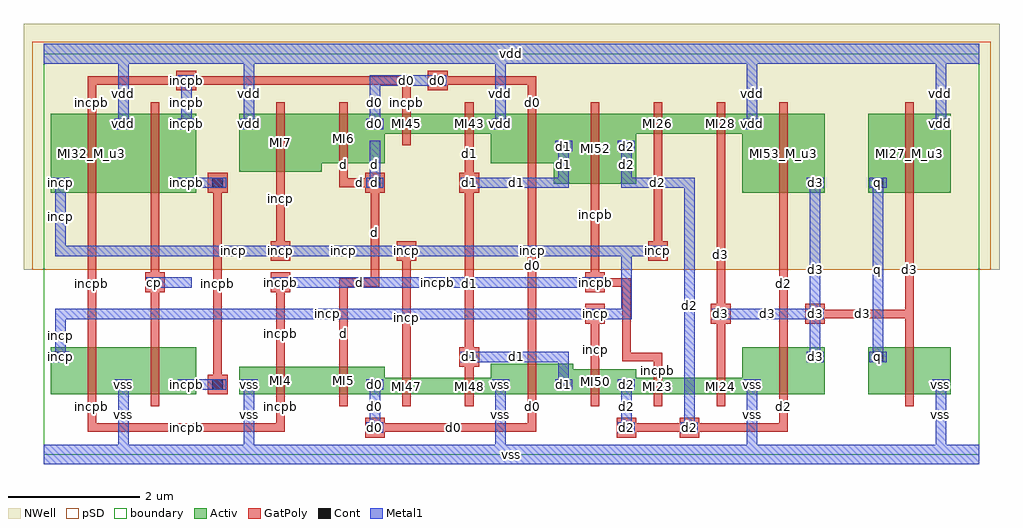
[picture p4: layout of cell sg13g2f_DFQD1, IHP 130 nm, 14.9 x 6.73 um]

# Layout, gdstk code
import gdstk
lib = gdstk.Library(unit=1e-6, precision=1e-09)
def R(c, l, rs):  # rectangles x0, y0, x1, y1
    for r in rs: c.add(gdstk.rectangle(r[:2], r[2:], *l))
def A(c, l, x, y, w, h, nx, ny, dx, dy):  # array of equal rectangles
    R(c, l, [(x+i*dx, y+j*dy, x+i*dx+w, y+j*dy+h) for i in range(nx) for j in range(ny)])
Activ = (1, 0)
GatPoly = (5, 0)
Cont = (6, 0)
Metal1 = (8, 0)
pSD = (14, 0)
NWell = (31, 0)
TEXT = (63, 0)
boundary = (189, 4)

sg13g2f_dfqd1 = lib.new_cell('sg13g2f_DFQD1')
A(sg13g2f_dfqd1, Activ, 1.065, 0.92, 0.3, 0.3, 3, 2, 0.96, 3.98)
A(sg13g2f_dfqd1, Activ, 6.825, 0.92, 0.3, 0.3, 3, 1, 0.96, 0)
R(sg13g2f_dfqd1, Activ, [(0.105,0.92,1.365,1.64), (1.065,0.92,2.325,1.64), (2.985,0.92,4.245,1.34), (3.945,0.92,5.205,1.34), (4.905,0.92,6.165,1.17), (4.905,0.92,5.205,1.22), (5.865,0.92,7.125,1.17), (6.825,0.92,8.085,1.39), (7.785,0.92,9.045,1.305), (8.745,0.92,10.005,1.17), (9.705,0.92,10.965,1.17), (10.665,0.92,11.925,1.64), (10.665,0.92,10.965,1.22), (12.585,0.92,13.845,1.64), (13.545,0.92,13.845,1.22), (0.105,1.34,0.405,1.64), (11.625,1.34,11.925,1.64), (12.585,1.34,12.885,1.64), (0.105,4,1.365,5.2), (0.105,4,0.405,4.3), (1.065,4,2.325,5.2), (2.025,4,2.325,4.3), (10.665,4,11.925,5.2), (11.625,4,11.925,4.3), (12.585,4,13.845,5.2), (12.585,4,12.885,4.3), (7.785,4.135,9.045,5.2), (2.985,4.315,4.245,5.2), (3.945,4.45,5.205,5.2), (6.825,4.45,8.085,5.2), (7.785,4.56,8.085,4.86), (8.745,4.56,9.045,4.86), (4.905,4.9,6.165,5.2), (4.905,4.9,5.205,5.2), (5.865,4.9,7.125,5.2), (6.825,4.9,7.125,5.2), (8.745,4.9,10.005,5.2), (9.705,4.9,10.965,5.2), (10.665,4.9,10.965,5.2), (13.545,4.9,13.845,5.2)])
A(sg13g2f_dfqd1, GatPoly, 3.55, 0.345, 0.13, 0.79, 3, 1, 3.84, 0)
R(sg13g2f_dfqd1, GatPoly, [(4.905,0.26,5.205,0.56), (8.745,0.26,9.045,0.56), (9.705,0.26,10.005,0.56), (0.67,0.345,0.8,1.135), (0.67,0.345,3.68,0.475), (4.99,0.345,7.52,0.475), (8.83,0.345,11.36,0.475), (0.67,0.74,0.8,1.82), (1.63,0.74,1.76,1.82), (3.55,0.74,3.68,1.52), (4.51,0.74,4.64,1.52), (5.47,0.74,5.6,1.35), (6.43,0.74,6.56,1.35), (7.39,0.74,7.52,1.57), (8.35,0.74,8.48,1.485), (9.31,0.74,9.44,1.35), (10.27,0.74,10.4,1.35), (11.23,0.74,11.36,1.82), (13.15,0.74,13.28,1.82), (2.505,0.92,2.805,1.22), (0.67,1.005,0.8,4.215), (2.59,1.005,2.72,4.215), (3.55,1.005,3.68,2.695), (4.51,1.005,4.64,2.695), (5.47,1.005,5.6,3.175), (6.43,1.005,6.56,4.215), (7.39,1.005,7.52,4.775), (8.35,1.005,8.48,2.215), (9.31,1.005,9.44,1.555), (10.27,1.005,10.4,5.115), (11.23,1.005,11.36,4.215), (6.345,1.34,6.645,1.64), (1.63,1.425,1.76,4.215), (6.43,1.425,6.56,4.215), (8.83,1.425,9.44,1.555), (8.83,1.425,8.96,2.695), (13.15,1.425,13.28,4.215), (8.265,2,8.565,2.3), (10.185,2,10.485,2.3), (11.625,2,11.925,2.3), (11.625,2,11.925,2.3), (11.71,2.085,13.28,2.215), (11.71,2.085,13.28,2.215), (1.545,2.48,1.845,2.78), (3.465,2.48,3.765,2.78), (8.265,2.48,8.565,2.78), (4.51,2.565,5.12,2.695), (4.99,2.565,5.12,4.215), (8.35,2.565,8.48,4.775), (8.35,2.565,8.96,2.695), (3.465,2.96,3.765,3.26), (5.385,2.96,5.685,3.26), (9.225,2.96,9.525,3.26), (3.55,3.045,3.68,4.775), (9.31,3.045,9.44,5.115), (0.67,3.82,0.8,5.38), (1.63,3.82,1.76,5.38), (11.23,3.82,11.36,5.38), (13.15,3.82,13.28,5.38), (8.35,3.955,8.48,5.38), (2.505,4,2.805,4.3), (4.905,4,5.205,4.3), (6.345,4,6.645,4.3), (4.51,4.085,5.12,4.215), (4.51,4.085,4.64,4.775), (6.43,4.085,6.56,5.115), (3.55,4.135,3.68,5.38), (4.51,4.27,4.64,5.38), (7.39,4.27,7.52,5.38), (5.47,4.72,5.6,5.38), (6.43,4.72,6.56,5.38), (9.31,4.72,9.44,5.38), (10.27,4.72,10.4,5.38), (0.67,4.985,0.8,5.775), (5.47,4.985,5.6,5.775), (7.39,4.985,7.52,5.775), (2.025,5.56,2.325,5.86), (5.865,5.56,6.165,5.86), (0.67,5.645,5.6,5.775), (5.95,5.645,7.52,5.775)])
A(sg13g2f_dfqd1, Cont, 2.095, 0.99, 0.16, 0.16, 3, 1, 0.48, 0)
A(sg13g2f_dfqd1, Cont, 6.895, 0.99, 0.16, 0.16, 3, 1, 0.96, 0)
A(sg13g2f_dfqd1, Cont, 1.135, 4.97, 0.16, 0.16, 3, 1, 0.96, 0)
R(sg13g2f_dfqd1, Cont, [(4.975,0.33,5.135,0.49), (8.815,0.33,8.975,0.49), (9.775,0.33,9.935,0.49), (1.135,0.99,1.295,1.15), (4.975,0.99,5.135,1.15), (10.735,0.99,10.895,1.15), (13.615,0.99,13.775,1.15), (0.175,1.41,0.335,1.57), (6.415,1.41,6.575,1.57), (11.695,1.41,11.855,1.57), (12.655,1.41,12.815,1.57), (8.335,2.07,8.495,2.23), (10.255,2.07,10.415,2.23), (11.695,2.07,11.855,2.23), (11.695,2.07,11.855,2.23), (1.615,2.55,1.775,2.71), (3.535,2.55,3.695,2.71), (8.335,2.55,8.495,2.71), (3.535,3.03,3.695,3.19), (5.455,3.03,5.615,3.19), (9.295,3.03,9.455,3.19), (0.175,4.07,0.335,4.23), (2.095,4.07,2.255,4.23), (2.575,4.07,2.735,4.23), (4.975,4.07,5.135,4.23), (6.415,4.07,6.575,4.23), (11.695,4.07,11.855,4.23), (12.655,4.07,12.815,4.23), (7.855,4.63,8.015,4.79), (8.815,4.63,8.975,4.79), (4.975,4.97,5.135,5.13), (6.895,4.97,7.055,5.13), (10.735,4.97,10.895,5.13), (13.615,4.97,13.775,5.13), (2.095,5.63,2.255,5.79), (5.935,5.63,6.095,5.79)])
A(sg13g2f_dfqd1, Metal1, 3.055, 0.07, 0.16, 1.08, 3, 2, 3.84, 4.9)
A(sg13g2f_dfqd1, Metal1, 2.045, 0.99, 0.26, 0.16, 3, 1, 0.48, 0)
A(sg13g2f_dfqd1, Metal1, 6.845, 0.99, 0.26, 0.16, 3, 1, 0.96, 0)
A(sg13g2f_dfqd1, Metal1, 1.085, 4.97, 0.26, 0.16, 3, 1, 0.96, 0)
R(sg13g2f_dfqd1, Metal1, [(0,-0.15,14.28,0.15), (1.135,0.07,1.295,1.15), (13.615,0.07,13.775,1.15), (4.925,0.33,5.185,0.49), (4.975,0.33,5.135,1.15), (8.765,0.33,9.025,0.49), (8.815,0.33,8.975,1.15), (9.725,0.33,9.985,0.49), (9.775,0.33,9.935,4.23), (1.085,0.99,1.345,1.15), (2.095,0.99,2.735,1.15), (4.925,0.99,5.185,1.15), (7.855,0.99,8.015,1.57), (10.685,0.99,10.945,1.15), (13.565,0.99,13.825,1.15), (0.125,1.41,0.385,1.57), (0.175,1.41,0.335,2.23), (6.365,1.41,6.625,1.57), (6.415,1.41,8.015,1.57), (11.645,1.41,11.905,1.57), (11.695,1.41,11.855,4.23), (12.605,1.41,12.865,1.57), (12.655,1.41,12.815,4.23), (0.175,2.07,8.495,2.23), (8.285,2.07,8.545,2.23), (8.335,2.07,8.975,2.23), (8.815,2.07,8.975,3.19), (10.205,2.07,10.465,2.23), (10.255,2.07,11.855,2.23), (11.645,2.07,11.905,2.23), (11.645,2.07,11.905,2.23), (1.565,2.55,1.825,2.71), (1.615,2.55,2.255,2.71), (3.485,2.55,3.745,2.71), (3.535,2.55,8.495,2.71), (8.285,2.55,8.545,2.71), (0.175,3.03,0.335,4.23), (0.175,3.03,5.615,3.19), (3.485,3.03,3.745,3.19), (3.535,3.03,5.615,3.19), (5.405,3.03,5.665,3.19), (5.455,3.03,9.455,3.19), (9.245,3.03,9.505,3.19), (0.125,4.07,0.385,4.23), (2.045,4.07,2.305,4.23), (2.095,4.07,2.735,4.23), (2.525,4.07,2.785,4.23), (4.925,4.07,5.185,4.23), (4.975,4.07,5.135,4.79), (6.365,4.07,6.625,4.23), (6.415,4.07,8.015,4.23), (7.855,4.07,8.015,4.79), (8.815,4.07,9.935,4.23), (8.815,4.07,8.975,4.79), (11.645,4.07,11.905,4.23), (12.605,4.07,12.865,4.23), (7.805,4.63,8.065,4.79), (8.765,4.63,9.025,4.79), (1.135,4.97,1.295,6.05), (2.095,4.97,2.255,5.79), (4.925,4.97,5.185,5.13), (4.975,4.97,5.135,5.79), (6.845,4.97,7.105,5.13), (10.685,4.97,10.945,5.13), (13.565,4.97,13.825,5.13), (13.615,4.97,13.775,6.05), (2.045,5.63,2.305,5.79), (4.975,5.63,6.095,5.79), (5.885,5.63,6.145,5.79), (0,5.97,14.28,6.27)])
R(sg13g2f_dfqd1, pSD, [(-0.18,2.82,14.46,5.94), (-0.18,5.94,14.46,6.3)])
R(sg13g2f_dfqd1, NWell, [(-0.31,2.82,14.59,6.58)])
R(sg13g2f_dfqd1, boundary, [(0,0,14.28,6.12)])
sg13g2f_dfqd1.add(gdstk.FlexPath([(0.105,0.41),(13.845,0.41)], 0, ends="flush", simple_path=True, layer=63, datatype=0))  # TEXT
sg13g2f_dfqd1.add(gdstk.FlexPath([(0.105,1.07),(13.845,1.07)], 0, ends="flush", simple_path=True, layer=63, datatype=0))  # TEXT
sg13g2f_dfqd1.add(gdstk.FlexPath([(0.105,1.49),(13.845,1.49)], 0, ends="flush", simple_path=True, layer=63, datatype=0))  # TEXT
sg13g2f_dfqd1.add(gdstk.FlexPath([(0.105,2.15),(13.845,2.15)], 0, ends="flush", simple_path=True, layer=63, datatype=0))  # TEXT
sg13g2f_dfqd1.add(gdstk.FlexPath([(0.105,2.63),(13.845,2.63)], 0, ends="flush", simple_path=True, layer=63, datatype=0))  # TEXT
sg13g2f_dfqd1.add(gdstk.FlexPath([(0.105,3.11),(13.845,3.11)], 0, ends="flush", simple_path=True, layer=63, datatype=0))  # TEXT
sg13g2f_dfqd1.add(gdstk.FlexPath([(0.105,4.15),(13.845,4.15)], 0, ends="flush", simple_path=True, layer=63, datatype=0))  # TEXT
sg13g2f_dfqd1.add(gdstk.FlexPath([(0.105,4.71),(13.845,4.71)], 0, ends="flush", simple_path=True, layer=63, datatype=0))  # TEXT
sg13g2f_dfqd1.add(gdstk.FlexPath([(0.105,5.05),(13.845,5.05)], 0, ends="flush", simple_path=True, layer=63, datatype=0))  # TEXT
sg13g2f_dfqd1.add(gdstk.FlexPath([(0.105,5.71),(13.845,5.71)], 0, ends="flush", simple_path=True, layer=63, datatype=0))  # TEXT
sg13g2f_dfqd1.add(gdstk.FlexPath([(0.255,0.07),(0.255,6.05)], 0, ends="flush", simple_path=True, layer=63, datatype=0))  # TEXT
sg13g2f_dfqd1.add(gdstk.FlexPath([(0.735,0.07),(0.735,6.05)], 0, ends="flush", simple_path=True, layer=63, datatype=0))  # TEXT
sg13g2f_dfqd1.add(gdstk.FlexPath([(1.215,0.07),(1.215,6.05)], 0, ends="flush", simple_path=True, layer=63, datatype=0))  # TEXT
sg13g2f_dfqd1.add(gdstk.FlexPath([(1.695,0.07),(1.695,6.05)], 0, ends="flush", simple_path=True, layer=63, datatype=0))  # TEXT
sg13g2f_dfqd1.add(gdstk.FlexPath([(2.175,0.07),(2.175,6.05)], 0, ends="flush", simple_path=True, layer=63, datatype=0))  # TEXT
sg13g2f_dfqd1.add(gdstk.FlexPath([(2.655,0.07),(2.655,6.05)], 0, ends="flush", simple_path=True, layer=63, datatype=0))  # TEXT
sg13g2f_dfqd1.add(gdstk.FlexPath([(3.135,0.07),(3.135,6.05)], 0, ends="flush", simple_path=True, layer=63, datatype=0))  # TEXT
sg13g2f_dfqd1.add(gdstk.FlexPath([(3.615,0.07),(3.615,6.05)], 0, ends="flush", simple_path=True, layer=63, datatype=0))  # TEXT
sg13g2f_dfqd1.add(gdstk.FlexPath([(4.095,0.07),(4.095,6.05)], 0, ends="flush", simple_path=True, layer=63, datatype=0))  # TEXT
sg13g2f_dfqd1.add(gdstk.FlexPath([(4.575,0.07),(4.575,6.05)], 0, ends="flush", simple_path=True, layer=63, datatype=0))  # TEXT
sg13g2f_dfqd1.add(gdstk.FlexPath([(5.055,0.07),(5.055,6.05)], 0, ends="flush", simple_path=True, layer=63, datatype=0))  # TEXT
sg13g2f_dfqd1.add(gdstk.FlexPath([(5.535,0.07),(5.535,6.05)], 0, ends="flush", simple_path=True, layer=63, datatype=0))  # TEXT
sg13g2f_dfqd1.add(gdstk.FlexPath([(6.015,0.07),(6.015,6.05)], 0, ends="flush", simple_path=True, layer=63, datatype=0))  # TEXT
sg13g2f_dfqd1.add(gdstk.FlexPath([(6.495,0.07),(6.495,6.05)], 0, ends="flush", simple_path=True, layer=63, datatype=0))  # TEXT
sg13g2f_dfqd1.add(gdstk.FlexPath([(6.975,0.07),(6.975,6.05)], 0, ends="flush", simple_path=True, layer=63, datatype=0))  # TEXT
sg13g2f_dfqd1.add(gdstk.FlexPath([(7.455,0.07),(7.455,6.05)], 0, ends="flush", simple_path=True, layer=63, datatype=0))  # TEXT
sg13g2f_dfqd1.add(gdstk.FlexPath([(7.935,0.07),(7.935,6.05)], 0, ends="flush", simple_path=True, layer=63, datatype=0))  # TEXT
sg13g2f_dfqd1.add(gdstk.FlexPath([(8.415,0.07),(8.415,6.05)], 0, ends="flush", simple_path=True, layer=63, datatype=0))  # TEXT
sg13g2f_dfqd1.add(gdstk.FlexPath([(8.895,0.07),(8.895,6.05)], 0, ends="flush", simple_path=True, layer=63, datatype=0))  # TEXT
sg13g2f_dfqd1.add(gdstk.FlexPath([(9.375,0.07),(9.375,6.05)], 0, ends="flush", simple_path=True, layer=63, datatype=0))  # TEXT
sg13g2f_dfqd1.add(gdstk.FlexPath([(9.855,0.07),(9.855,6.05)], 0, ends="flush", simple_path=True, layer=63, datatype=0))  # TEXT
sg13g2f_dfqd1.add(gdstk.FlexPath([(10.335,0.07),(10.335,6.05)], 0, ends="flush", simple_path=True, layer=63, datatype=0))  # TEXT
sg13g2f_dfqd1.add(gdstk.FlexPath([(10.815,0.07),(10.815,6.05)], 0, ends="flush", simple_path=True, layer=63, datatype=0))  # TEXT
sg13g2f_dfqd1.add(gdstk.FlexPath([(11.295,0.07),(11.295,6.05)], 0, ends="flush", simple_path=True, layer=63, datatype=0))  # TEXT
sg13g2f_dfqd1.add(gdstk.FlexPath([(11.775,0.07),(11.775,6.05)], 0, ends="flush", simple_path=True, layer=63, datatype=0))  # TEXT
sg13g2f_dfqd1.add(gdstk.FlexPath([(12.255,0.07),(12.255,6.05)], 0, ends="flush", simple_path=True, layer=63, datatype=0))  # TEXT
sg13g2f_dfqd1.add(gdstk.FlexPath([(12.735,0.07),(12.735,6.05)], 0, ends="flush", simple_path=True, layer=63, datatype=0))  # TEXT
sg13g2f_dfqd1.add(gdstk.FlexPath([(13.215,0.07),(13.215,6.05)], 0, ends="flush", simple_path=True, layer=63, datatype=0))  # TEXT
sg13g2f_dfqd1.add(gdstk.FlexPath([(13.695,0.07),(13.695,6.05)], 0, ends="flush", simple_path=True, layer=63, datatype=0))  # TEXT
sg13g2f_dfqd1.add(gdstk.Label('incpb', (2.175,1.07), layer=6, texttype=0))
sg13g2f_dfqd1.add(gdstk.Label('incpb', (2.175,4.15), layer=6, texttype=0))
sg13g2f_dfqd1.add(gdstk.Label('incpb', (2.175,5.05), layer=6, texttype=0))
sg13g2f_dfqd1.add(gdstk.Label('incpb', (3.615,2.63), layer=6, texttype=0))
sg13g2f_dfqd1.add(gdstk.Label('incpb', (8.415,2.63), layer=6, texttype=0))
sg13g2f_dfqd1.add(gdstk.Label('incpb', (2.655,1.07), layer=6, texttype=0))
sg13g2f_dfqd1.add(gdstk.Label('incpb', (2.655,4.15), layer=6, texttype=0))
sg13g2f_dfqd1.add(gdstk.Label('incpb', (2.175,5.71), layer=6, texttype=0))
sg13g2f_dfqd1.add(gdstk.Label('d2', (8.895,1.07), layer=6, texttype=0))
sg13g2f_dfqd1.add(gdstk.Label('d2', (8.895,4.71), layer=6, texttype=0))
sg13g2f_dfqd1.add(gdstk.Label('d2', (8.895,0.41), layer=6, texttype=0))
sg13g2f_dfqd1.add(gdstk.Label('d2', (9.855,0.41), layer=6, texttype=0))
sg13g2f_dfqd1.add(gdstk.Label('d0', (5.055,1.07), layer=6, texttype=0))
sg13g2f_dfqd1.add(gdstk.Label('d0', (5.055,5.05), layer=6, texttype=0))
sg13g2f_dfqd1.add(gdstk.Label('d0', (5.055,0.41), layer=6, texttype=0))
sg13g2f_dfqd1.add(gdstk.Label('d0', (6.015,5.71), layer=6, texttype=0))
sg13g2f_dfqd1.add(gdstk.Label('d', (5.055,4.15), layer=6, texttype=0))
sg13g2f_dfqd1.add(gdstk.Label('incp', (0.255,1.49), layer=6, texttype=0))
sg13g2f_dfqd1.add(gdstk.Label('incp', (0.255,4.15), layer=6, texttype=0))
sg13g2f_dfqd1.add(gdstk.Label('incp', (5.535,3.11), layer=6, texttype=0))
sg13g2f_dfqd1.add(gdstk.Label('incp', (3.615,3.11), layer=6, texttype=0))
sg13g2f_dfqd1.add(gdstk.Label('incp', (9.375,3.11), layer=6, texttype=0))
sg13g2f_dfqd1.add(gdstk.Label('incp', (8.415,2.15), layer=6, texttype=0))
sg13g2f_dfqd1.add(gdstk.Label('d1', (7.935,1.07), layer=6, texttype=0))
sg13g2f_dfqd1.add(gdstk.Label('d1', (7.935,4.71), layer=6, texttype=0))
sg13g2f_dfqd1.add(gdstk.Label('d1', (6.495,4.15), layer=6, texttype=0))
sg13g2f_dfqd1.add(gdstk.Label('d1', (6.495,1.49), layer=6, texttype=0))
sg13g2f_dfqd1.add(gdstk.Label('d3', (11.775,1.49), layer=6, texttype=0))
sg13g2f_dfqd1.add(gdstk.Label('d3', (11.775,4.15), layer=6, texttype=0))
sg13g2f_dfqd1.add(gdstk.Label('d3', (11.775,2.15), layer=6, texttype=0))
sg13g2f_dfqd1.add(gdstk.Label('d3', (10.335,2.15), layer=6, texttype=0))
sg13g2f_dfqd1.add(gdstk.Label('d3', (11.775,2.15), layer=6, texttype=0))
sg13g2f_dfqd1.add(gdstk.Label('cp', (1.695,2.63), layer=6, texttype=0))
sg13g2f_dfqd1.add(gdstk.Label('q', (12.735,1.49), layer=6, texttype=0))
sg13g2f_dfqd1.add(gdstk.Label('q', (12.735,4.15), layer=6, texttype=0))
sg13g2f_dfqd1.add(gdstk.Label('vss', (3.135,1.07), layer=6, texttype=0))
sg13g2f_dfqd1.add(gdstk.Label('vss', (6.975,1.07), layer=6, texttype=0))
sg13g2f_dfqd1.add(gdstk.Label('vss', (10.815,1.07), layer=6, texttype=0))
sg13g2f_dfqd1.add(gdstk.Label('vss', (1.215,1.07), layer=6, texttype=0))
sg13g2f_dfqd1.add(gdstk.Label('vss', (13.695,1.07), layer=6, texttype=0))
sg13g2f_dfqd1.add(gdstk.Label('vdd', (1.215,5.05), layer=6, texttype=0))
sg13g2f_dfqd1.add(gdstk.Label('vdd', (13.695,5.05), layer=6, texttype=0))
sg13g2f_dfqd1.add(gdstk.Label('vdd', (10.815,5.05), layer=6, texttype=0))
sg13g2f_dfqd1.add(gdstk.Label('vdd', (6.975,5.05), layer=6, texttype=0))
sg13g2f_dfqd1.add(gdstk.Label('vdd', (3.135,5.05), layer=6, texttype=0))
sg13g2f_dfqd1.add(gdstk.Label('incpb', (2.175,1.07), layer=8, texttype=0))
sg13g2f_dfqd1.add(gdstk.Label('incpb', (2.175,4.15), layer=8, texttype=0))
sg13g2f_dfqd1.add(gdstk.Label('incpb', (2.175,5.05), layer=8, texttype=0))
sg13g2f_dfqd1.add(gdstk.Label('incpb', (3.615,2.63), layer=8, texttype=0))
sg13g2f_dfqd1.add(gdstk.Label('incpb', (6.015,2.63), layer=8, texttype=0))
sg13g2f_dfqd1.add(gdstk.Label('incpb', (8.415,2.63), layer=8, texttype=0))
sg13g2f_dfqd1.add(gdstk.Label('incpb', (2.415,1.07), layer=8, texttype=0))
sg13g2f_dfqd1.add(gdstk.Label('incpb', (2.655,1.07), layer=8, texttype=0))
sg13g2f_dfqd1.add(gdstk.Label('incpb', (2.655,4.15), layer=8, texttype=0))
sg13g2f_dfqd1.add(gdstk.Label('incpb', (2.415,4.15), layer=8, texttype=0))
sg13g2f_dfqd1.add(gdstk.Label('incpb', (2.175,5.38), layer=8, texttype=0))
sg13g2f_dfqd1.add(gdstk.Label('incpb', (2.175,5.71), layer=8, texttype=0))
sg13g2f_dfqd1.add(gdstk.Label('d2', (8.895,1.07), layer=8, texttype=0))
sg13g2f_dfqd1.add(gdstk.Label('d2', (8.895,4.71), layer=8, texttype=0))
sg13g2f_dfqd1.add(gdstk.Label('d2', (8.895,0.74), layer=8, texttype=0))
sg13g2f_dfqd1.add(gdstk.Label('d2', (8.895,0.41), layer=8, texttype=0))
sg13g2f_dfqd1.add(gdstk.Label('d2', (9.855,0.41), layer=8, texttype=0))
sg13g2f_dfqd1.add(gdstk.Label('d2', (9.855,2.28), layer=8, texttype=0))
sg13g2f_dfqd1.add(gdstk.Label('d2', (9.375,4.15), layer=8, texttype=0))
sg13g2f_dfqd1.add(gdstk.Label('d2', (8.895,4.43), layer=8, texttype=0))
sg13g2f_dfqd1.add(gdstk.Label('d0', (5.055,1.07), layer=8, texttype=0))
sg13g2f_dfqd1.add(gdstk.Label('d0', (5.055,5.05), layer=8, texttype=0))
sg13g2f_dfqd1.add(gdstk.Label('d0', (5.055,0.74), layer=8, texttype=0))
sg13g2f_dfqd1.add(gdstk.Label('d0', (5.055,0.41), layer=8, texttype=0))
sg13g2f_dfqd1.add(gdstk.Label('d0', (5.055,5.38), layer=8, texttype=0))
sg13g2f_dfqd1.add(gdstk.Label('d0', (5.535,5.71), layer=8, texttype=0))
sg13g2f_dfqd1.add(gdstk.Label('d0', (6.015,5.71), layer=8, texttype=0))
sg13g2f_dfqd1.add(gdstk.Label('incp', (0.255,1.49), layer=8, texttype=0))
sg13g2f_dfqd1.add(gdstk.Label('incp', (0.255,4.15), layer=8, texttype=0))
sg13g2f_dfqd1.add(gdstk.Label('incp', (5.535,3.11), layer=8, texttype=0))
sg13g2f_dfqd1.add(gdstk.Label('incp', (4.575,3.11), layer=8, texttype=0))
sg13g2f_dfqd1.add(gdstk.Label('incp', (3.615,3.11), layer=8, texttype=0))
sg13g2f_dfqd1.add(gdstk.Label('incp', (7.455,3.11), layer=8, texttype=0))
sg13g2f_dfqd1.add(gdstk.Label('incp', (9.375,3.11), layer=8, texttype=0))
sg13g2f_dfqd1.add(gdstk.Label('incp', (8.415,2.15), layer=8, texttype=0))
sg13g2f_dfqd1.add(gdstk.Label('incp', (4.335,2.15), layer=8, texttype=0))
sg13g2f_dfqd1.add(gdstk.Label('incp', (0.255,1.82), layer=8, texttype=0))
sg13g2f_dfqd1.add(gdstk.Label('incp', (8.655,2.15), layer=8, texttype=0))
sg13g2f_dfqd1.add(gdstk.Label('incp', (8.895,2.63), layer=8, texttype=0))
sg13g2f_dfqd1.add(gdstk.Label('incp', (0.255,3.63), layer=8, texttype=0))
sg13g2f_dfqd1.add(gdstk.Label('incp', (2.895,3.11), layer=8, texttype=0))
sg13g2f_dfqd1.add(gdstk.Label('d1', (7.935,1.07), layer=8, texttype=0))
sg13g2f_dfqd1.add(gdstk.Label('d1', (7.935,4.71), layer=8, texttype=0))
sg13g2f_dfqd1.add(gdstk.Label('d1', (6.495,4.15), layer=8, texttype=0))
sg13g2f_dfqd1.add(gdstk.Label('d1', (7.215,4.15), layer=8, texttype=0))
sg13g2f_dfqd1.add(gdstk.Label('d1', (7.935,4.43), layer=8, texttype=0))
sg13g2f_dfqd1.add(gdstk.Label('d1', (7.935,1.28), layer=8, texttype=0))
sg13g2f_dfqd1.add(gdstk.Label('d1', (7.215,1.49), layer=8, texttype=0))
sg13g2f_dfqd1.add(gdstk.Label('d1', (6.495,1.49), layer=8, texttype=0))
sg13g2f_dfqd1.add(gdstk.Label('d3', (11.775,1.49), layer=8, texttype=0))
sg13g2f_dfqd1.add(gdstk.Label('d3', (11.775,4.15), layer=8, texttype=0))
sg13g2f_dfqd1.add(gdstk.Label('d3', (11.775,2.15), layer=8, texttype=0))
sg13g2f_dfqd1.add(gdstk.Label('d3', (11.055,2.15), layer=8, texttype=0))
sg13g2f_dfqd1.add(gdstk.Label('d3', (10.335,2.15), layer=8, texttype=0))
sg13g2f_dfqd1.add(gdstk.Label('d3', (11.775,2.82), layer=8, texttype=0))
sg13g2f_dfqd1.add(gdstk.Label('d3', (11.775,2.15), layer=8, texttype=0))
sg13g2f_dfqd1.add(gdstk.Label('vss', (3.135,1.07), layer=8, texttype=0))
sg13g2f_dfqd1.add(gdstk.Label('vss', (3.135,0.61), layer=8, texttype=0))
sg13g2f_dfqd1.add(gdstk.Label('vss', (6.975,1.07), layer=8, texttype=0))
sg13g2f_dfqd1.add(gdstk.Label('vss', (6.975,0.61), layer=8, texttype=0))
sg13g2f_dfqd1.add(gdstk.Label('vss', (10.815,1.07), layer=8, texttype=0))
sg13g2f_dfqd1.add(gdstk.Label('vss', (10.815,0.61), layer=8, texttype=0))
sg13g2f_dfqd1.add(gdstk.Label('vss', (1.215,1.07), layer=8, texttype=0))
sg13g2f_dfqd1.add(gdstk.Label('vss', (1.215,0.61), layer=8, texttype=0))
sg13g2f_dfqd1.add(gdstk.Label('vss', (13.695,1.07), layer=8, texttype=0))
sg13g2f_dfqd1.add(gdstk.Label('vss', (13.695,0.61), layer=8, texttype=0))
sg13g2f_dfqd1.add(gdstk.Label('vdd', (1.215,5.05), layer=8, texttype=0))
sg13g2f_dfqd1.add(gdstk.Label('vdd', (1.215,5.51), layer=8, texttype=0))
sg13g2f_dfqd1.add(gdstk.Label('vdd', (13.695,5.05), layer=8, texttype=0))
sg13g2f_dfqd1.add(gdstk.Label('vdd', (13.695,5.51), layer=8, texttype=0))
sg13g2f_dfqd1.add(gdstk.Label('vdd', (10.815,5.05), layer=8, texttype=0))
sg13g2f_dfqd1.add(gdstk.Label('vdd', (10.815,5.51), layer=8, texttype=0))
sg13g2f_dfqd1.add(gdstk.Label('vdd', (6.975,5.05), layer=8, texttype=0))
sg13g2f_dfqd1.add(gdstk.Label('vdd', (6.975,5.51), layer=8, texttype=0))
sg13g2f_dfqd1.add(gdstk.Label('vdd', (3.135,5.05), layer=8, texttype=0))
sg13g2f_dfqd1.add(gdstk.Label('vdd', (3.135,5.51), layer=8, texttype=0))
sg13g2f_dfqd1.add(gdstk.Label('d', (5.055,4.15), layer=8, texttype=2))
sg13g2f_dfqd1.add(gdstk.Label('d', (5.055,4.43), layer=8, texttype=2))
sg13g2f_dfqd1.add(gdstk.Label('cp', (1.695,2.63), layer=8, texttype=2))
sg13g2f_dfqd1.add(gdstk.Label('cp', (1.935,2.63), layer=8, texttype=2))
sg13g2f_dfqd1.add(gdstk.Label('q', (12.735,1.49), layer=8, texttype=2))
sg13g2f_dfqd1.add(gdstk.Label('q', (12.735,4.15), layer=8, texttype=2))
sg13g2f_dfqd1.add(gdstk.Label('q', (12.735,2.82), layer=8, texttype=2))
sg13g2f_dfqd1.add(gdstk.Label('vss', (7.14,0), layer=8, texttype=2))
sg13g2f_dfqd1.add(gdstk.Label('vdd', (7.14,6.12), layer=8, texttype=2))
sg13g2f_dfqd1.add(gdstk.Label('d', (5.055,4.15), layer=8, texttype=2))
sg13g2f_dfqd1.add(gdstk.Label('d', (5.055,4.43), layer=8, texttype=2))
sg13g2f_dfqd1.add(gdstk.Label('cp', (1.695,2.63), layer=8, texttype=2))
sg13g2f_dfqd1.add(gdstk.Label('cp', (1.935,2.63), layer=8, texttype=2))
sg13g2f_dfqd1.add(gdstk.Label('q', (12.735,1.49), layer=8, texttype=2))
sg13g2f_dfqd1.add(gdstk.Label('q', (12.735,4.15), layer=8, texttype=2))
sg13g2f_dfqd1.add(gdstk.Label('q', (12.735,2.82), layer=8, texttype=2))
sg13g2f_dfqd1.add(gdstk.Label('vss', (7.14,0), layer=8, texttype=2))
sg13g2f_dfqd1.add(gdstk.Label('vdd', (7.14,6.12), layer=8, texttype=2))
sg13g2f_dfqd1.add(gdstk.Label('MI4', (3.615,1.13), layer=1, texttype=0))
sg13g2f_dfqd1.add(gdstk.Label('MI23', (9.375,1.045), layer=1, texttype=0))
sg13g2f_dfqd1.add(gdstk.Label('MI5', (4.575,1.13), layer=1, texttype=0))
sg13g2f_dfqd1.add(gdstk.Label('MI47', (5.535,1.045), layer=1, texttype=0))
sg13g2f_dfqd1.add(gdstk.Label('MI48', (6.495,1.045), layer=1, texttype=0))
sg13g2f_dfqd1.add(gdstk.Label('MI24', (10.335,1.045), layer=1, texttype=0))
sg13g2f_dfqd1.add(gdstk.Label('MI50', (8.415,1.113), layer=1, texttype=0))
sg13g2f_dfqd1.add(gdstk.Label('MI32_M_u2', (0.735,1.28), layer=1, texttype=0))
sg13g2f_dfqd1.add(gdstk.Label('MI31_M_u2', (1.695,1.28), layer=1, texttype=0))
sg13g2f_dfqd1.add(gdstk.Label('MI27_M_u2', (13.215,1.28), layer=1, texttype=0))
sg13g2f_dfqd1.add(gdstk.Label('MI53_M_u2', (11.295,1.28), layer=1, texttype=0))
sg13g2f_dfqd1.add(gdstk.Label('MI13_M_u2', (7.455,1.155), layer=1, texttype=0))
sg13g2f_dfqd1.add(gdstk.Label('MI6', (4.575,4.825), layer=1, texttype=0))
sg13g2f_dfqd1.add(gdstk.Label('MI32_M_u3', (0.735,4.6), layer=1, texttype=0))
sg13g2f_dfqd1.add(gdstk.Label('MI31_M_u3', (1.695,4.6), layer=1, texttype=0))
sg13g2f_dfqd1.add(gdstk.Label('MI27_M_u3', (13.215,4.6), layer=1, texttype=0))
sg13g2f_dfqd1.add(gdstk.Label('MI53_M_u3', (11.295,4.6), layer=1, texttype=0))
sg13g2f_dfqd1.add(gdstk.Label('MI13_M_u3', (7.455,4.825), layer=1, texttype=0))
sg13g2f_dfqd1.add(gdstk.Label('MI7', (3.615,4.758), layer=1, texttype=0))
sg13g2f_dfqd1.add(gdstk.Label('MI52', (8.415,4.668), layer=1, texttype=0))
sg13g2f_dfqd1.add(gdstk.Label('MI28', (10.335,5.05), layer=1, texttype=0))
sg13g2f_dfqd1.add(gdstk.Label('MI26', (9.375,5.05), layer=1, texttype=0))
sg13g2f_dfqd1.add(gdstk.Label('MI45', (5.535,5.05), layer=1, texttype=0))
sg13g2f_dfqd1.add(gdstk.Label('MI43', (6.495,5.05), layer=1, texttype=0))
sg13g2f_dfqd1.add(gdstk.Label('incpb', (2.175,1.07), layer=1, texttype=0))
sg13g2f_dfqd1.add(gdstk.Label('incpb', (2.175,4.15), layer=1, texttype=0))
sg13g2f_dfqd1.add(gdstk.Label('incpb', (2.175,5.05), layer=1, texttype=0))
sg13g2f_dfqd1.add(gdstk.Label('d2', (8.895,1.07), layer=1, texttype=0))
sg13g2f_dfqd1.add(gdstk.Label('d2', (8.895,4.71), layer=1, texttype=0))
sg13g2f_dfqd1.add(gdstk.Label('d0', (5.055,1.07), layer=1, texttype=0))
sg13g2f_dfqd1.add(gdstk.Label('d0', (5.055,5.05), layer=1, texttype=0))
sg13g2f_dfqd1.add(gdstk.Label('incp', (0.255,1.49), layer=1, texttype=0))
sg13g2f_dfqd1.add(gdstk.Label('incp', (0.255,4.15), layer=1, texttype=0))
sg13g2f_dfqd1.add(gdstk.Label('d1', (7.935,1.07), layer=1, texttype=0))
sg13g2f_dfqd1.add(gdstk.Label('d1', (7.935,4.71), layer=1, texttype=0))
sg13g2f_dfqd1.add(gdstk.Label('d3', (11.775,1.49), layer=1, texttype=0))
sg13g2f_dfqd1.add(gdstk.Label('d3', (11.775,4.15), layer=1, texttype=0))
sg13g2f_dfqd1.add(gdstk.Label('q', (12.735,1.49), layer=1, texttype=0))
sg13g2f_dfqd1.add(gdstk.Label('q', (12.735,4.15), layer=1, texttype=0))
sg13g2f_dfqd1.add(gdstk.Label('vss', (3.135,1.07), layer=1, texttype=0))
sg13g2f_dfqd1.add(gdstk.Label('vss', (6.975,1.07), layer=1, texttype=0))
sg13g2f_dfqd1.add(gdstk.Label('vss', (10.815,1.07), layer=1, texttype=0))
sg13g2f_dfqd1.add(gdstk.Label('vss', (1.215,1.07), layer=1, texttype=0))
sg13g2f_dfqd1.add(gdstk.Label('vss', (13.695,1.07), layer=1, texttype=0))
sg13g2f_dfqd1.add(gdstk.Label('vdd', (1.215,5.05), layer=1, texttype=0))
sg13g2f_dfqd1.add(gdstk.Label('vdd', (13.695,5.05), layer=1, texttype=0))
sg13g2f_dfqd1.add(gdstk.Label('vdd', (10.815,5.05), layer=1, texttype=0))
sg13g2f_dfqd1.add(gdstk.Label('vdd', (6.975,5.05), layer=1, texttype=0))
sg13g2f_dfqd1.add(gdstk.Label('vdd', (3.135,5.05), layer=1, texttype=0))
sg13g2f_dfqd1.add(gdstk.Label('d', (5.055,4.15), layer=8, texttype=25))
sg13g2f_dfqd1.add(gdstk.Label('d', (5.055,4.43), layer=8, texttype=25))
sg13g2f_dfqd1.add(gdstk.Label('cp', (1.695,2.63), layer=8, texttype=25))
sg13g2f_dfqd1.add(gdstk.Label('cp', (1.935,2.63), layer=8, texttype=25))
sg13g2f_dfqd1.add(gdstk.Label('q', (12.735,1.49), layer=8, texttype=25))
sg13g2f_dfqd1.add(gdstk.Label('q', (12.735,4.15), layer=8, texttype=25))
sg13g2f_dfqd1.add(gdstk.Label('q', (12.735,2.82), layer=8, texttype=25))
sg13g2f_dfqd1.add(gdstk.Label('vss', (7.14,0), layer=8, texttype=25))
sg13g2f_dfqd1.add(gdstk.Label('vdd', (7.14,6.12), layer=8, texttype=25))
sg13g2f_dfqd1.add(gdstk.Label('incpb', (3.615,0.74), layer=5, texttype=0))
sg13g2f_dfqd1.add(gdstk.Label('incpb', (2.175,0.41), layer=5, texttype=0))
sg13g2f_dfqd1.add(gdstk.Label('incpb', (0.735,0.74), layer=5, texttype=0))
sg13g2f_dfqd1.add(gdstk.Label('incpb', (0.735,2.61), layer=5, texttype=0))
sg13g2f_dfqd1.add(gdstk.Label('incpb', (3.615,1.85), layer=5, texttype=0))
sg13g2f_dfqd1.add(gdstk.Label('incpb', (3.615,2.63), layer=5, texttype=0))
sg13g2f_dfqd1.add(gdstk.Label('incpb', (8.415,2.63), layer=5, texttype=0))
sg13g2f_dfqd1.add(gdstk.Label('incpb', (8.415,3.67), layer=5, texttype=0))
sg13g2f_dfqd1.add(gdstk.Label('incpb', (9.375,1.28), layer=5, texttype=0))
sg13g2f_dfqd1.add(gdstk.Label('incpb', (9.135,1.49), layer=5, texttype=0))
sg13g2f_dfqd1.add(gdstk.Label('incpb', (8.895,2.06), layer=5, texttype=0))
sg13g2f_dfqd1.add(gdstk.Label('incpb', (8.655,2.63), layer=5, texttype=0))
sg13g2f_dfqd1.add(gdstk.Label('incpb', (2.655,1.07), layer=5, texttype=0))
sg13g2f_dfqd1.add(gdstk.Label('incpb', (2.655,2.61), layer=5, texttype=0))
sg13g2f_dfqd1.add(gdstk.Label('incpb', (2.655,4.15), layer=5, texttype=0))
sg13g2f_dfqd1.add(gdstk.Label('incpb', (0.735,5.38), layer=5, texttype=0))
sg13g2f_dfqd1.add(gdstk.Label('incpb', (3.135,5.71), layer=5, texttype=0))
sg13g2f_dfqd1.add(gdstk.Label('incpb', (5.535,5.38), layer=5, texttype=0))
sg13g2f_dfqd1.add(gdstk.Label('incpb', (2.175,5.71), layer=5, texttype=0))
sg13g2f_dfqd1.add(gdstk.Label('d2', (8.895,0.41), layer=5, texttype=0))
sg13g2f_dfqd1.add(gdstk.Label('d2', (10.095,0.41), layer=5, texttype=0))
sg13g2f_dfqd1.add(gdstk.Label('d2', (11.295,0.74), layer=5, texttype=0))
sg13g2f_dfqd1.add(gdstk.Label('d2', (11.295,2.61), layer=5, texttype=0))
sg13g2f_dfqd1.add(gdstk.Label('d2', (9.855,0.41), layer=5, texttype=0))
sg13g2f_dfqd1.add(gdstk.Label('d0', (5.055,0.41), layer=5, texttype=0))
sg13g2f_dfqd1.add(gdstk.Label('d0', (6.255,0.41), layer=5, texttype=0))
sg13g2f_dfqd1.add(gdstk.Label('d0', (7.455,0.74), layer=5, texttype=0))
sg13g2f_dfqd1.add(gdstk.Label('d0', (7.455,2.89), layer=5, texttype=0))
sg13g2f_dfqd1.add(gdstk.Label('d0', (6.015,5.71), layer=5, texttype=0))
sg13g2f_dfqd1.add(gdstk.Label('d0', (6.735,5.71), layer=5, texttype=0))
sg13g2f_dfqd1.add(gdstk.Label('d0', (7.455,5.38), layer=5, texttype=0))
sg13g2f_dfqd1.add(gdstk.Label('d', (4.575,1.85), layer=5, texttype=0))
sg13g2f_dfqd1.add(gdstk.Label('d', (4.815,2.63), layer=5, texttype=0))
sg13g2f_dfqd1.add(gdstk.Label('d', (5.055,3.39), layer=5, texttype=0))
sg13g2f_dfqd1.add(gdstk.Label('d', (4.815,4.15), layer=5, texttype=0))
sg13g2f_dfqd1.add(gdstk.Label('d', (4.575,4.43), layer=5, texttype=0))
sg13g2f_dfqd1.add(gdstk.Label('d', (5.055,4.15), layer=5, texttype=0))
sg13g2f_dfqd1.add(gdstk.Label('incp', (5.535,2.09), layer=5, texttype=0))
sg13g2f_dfqd1.add(gdstk.Label('incp', (5.535,3.11), layer=5, texttype=0))
sg13g2f_dfqd1.add(gdstk.Label('incp', (3.615,3.11), layer=5, texttype=0))
sg13g2f_dfqd1.add(gdstk.Label('incp', (3.615,3.91), layer=5, texttype=0))
sg13g2f_dfqd1.add(gdstk.Label('incp', (9.375,3.11), layer=5, texttype=0))
sg13g2f_dfqd1.add(gdstk.Label('incp', (9.375,4.08), layer=5, texttype=0))
sg13g2f_dfqd1.add(gdstk.Label('incp', (8.415,1.61), layer=5, texttype=0))
sg13g2f_dfqd1.add(gdstk.Label('incp', (8.415,2.15), layer=5, texttype=0))
sg13g2f_dfqd1.add(gdstk.Label('d1', (6.495,2.61), layer=5, texttype=0))
sg13g2f_dfqd1.add(gdstk.Label('d1', (6.495,4.15), layer=5, texttype=0))
sg13g2f_dfqd1.add(gdstk.Label('d1', (6.495,4.6), layer=5, texttype=0))
sg13g2f_dfqd1.add(gdstk.Label('d1', (6.495,1.49), layer=5, texttype=0))
sg13g2f_dfqd1.add(gdstk.Label('d1', (6.495,2.82), layer=5, texttype=0))
sg13g2f_dfqd1.add(gdstk.Label('d3', (10.335,3.06), layer=5, texttype=0))
sg13g2f_dfqd1.add(gdstk.Label('d3', (13.215,2.82), layer=5, texttype=0))
sg13g2f_dfqd1.add(gdstk.Label('d3', (12.495,2.15), layer=5, texttype=0))
sg13g2f_dfqd1.add(gdstk.Label('d3', (11.775,2.15), layer=5, texttype=0))
sg13g2f_dfqd1.add(gdstk.Label('d3', (10.335,2.15), layer=5, texttype=0))
sg13g2f_dfqd1.add(gdstk.Label('d3', (12.495,2.15), layer=5, texttype=0))
sg13g2f_dfqd1.add(gdstk.Label('d3', (11.775,2.15), layer=5, texttype=0))
sg13g2f_dfqd1.add(gdstk.Label('cp', (1.695,2.82), layer=5, texttype=0))
sg13g2f_dfqd1.add(gdstk.Label('cp', (1.695,2.63), layer=5, texttype=0))

lib.write_gds('sg13g2f_DFQD1.gds')
